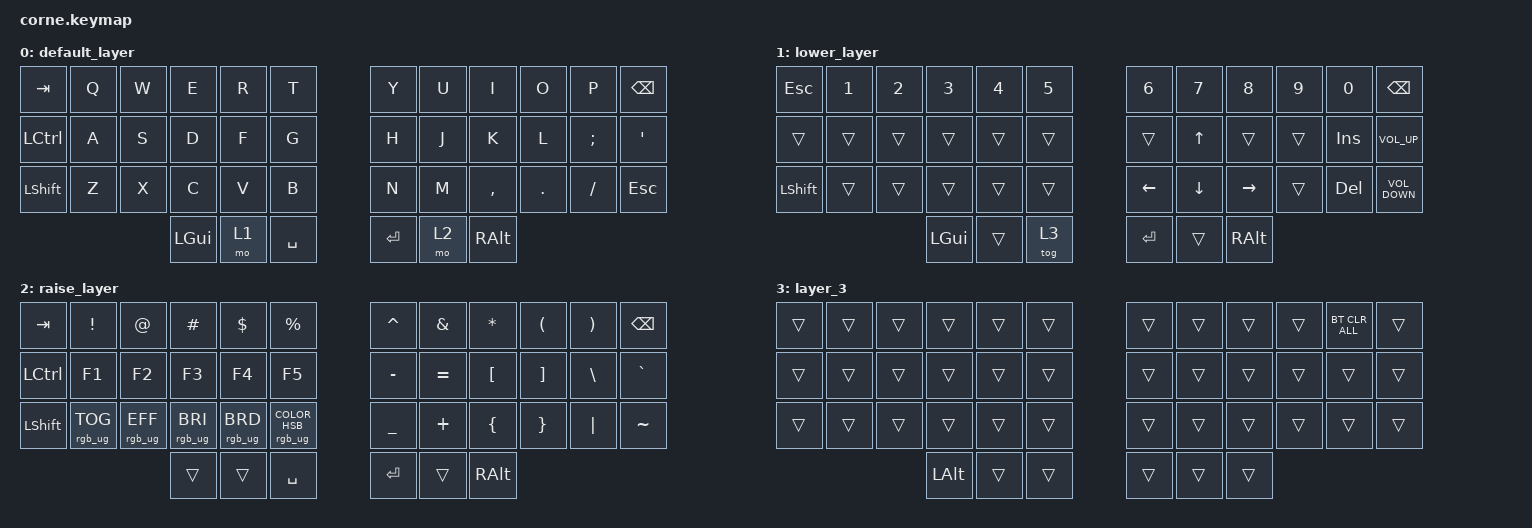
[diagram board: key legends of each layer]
/*
 * Copyright (c) 2020 The ZMK Contributors
 *
 * SPDX-License-Identifier: MIT
 */

#include <behaviors.dtsi>
#include <dt-bindings/zmk/bt.h>
#include <dt-bindings/zmk/keys.h>
#include <dt-bindings/zmk/rgb.h>

&led_strip { chain-length = <27>; };

/ {
    keymap {
        compatible = "zmk,keymap";

        default_layer {
            // -----------------------------------------------------------------------------------------
            // |  TAB |  Q  |  W  |  E  |  R  |  T  |   |  Y  |  U   |  I  |  O  |  P  | BKSP |
            // | CTRL |  A  |  S  |  D  |  F  |  G  |   |  H  |  J   |  K  |  L  |  ;  |  '   |
            // | SHFT |  Z  |  X  |  C  |  V  |  B  |   |  N  |  M   |  ,  |  .  |  /  | ESC  |
            //                    | GUI | LWR | SPC |   | ENT | RSE  | ALT |

            bindings = <
&kp TAB    &kp Q  &kp W  &kp E     &kp R  &kp T        &kp Y    &kp U  &kp I      &kp O    &kp P     &kp BSPC
&kp LCTRL  &kp A  &kp S  &kp D     &kp F  &kp G        &kp H    &kp J  &kp K      &kp L    &kp SEMI  &kp SQT
&kp LSHFT  &kp Z  &kp X  &kp C     &kp V  &kp B        &kp N    &kp M  &kp COMMA  &kp DOT  &kp FSLH  &kp ESC
                         &kp LGUI  &mo 1  &kp SPACE    &kp RET  &mo 2  &kp RALT
            >;
        };

        lower_layer {
            // -----------------------------------------------------------------------------------------
            // |  TAB |  1  |  2  |  3  |  4  |  5  |   |  6  |  7  |  8  |  9  |  0  | BKSP |
            // | BTCLR| BT1 | BT2 | BT3 | BT4 | BT5 |   | LFT | DWN |  UP | RGT |     |      |
            // | SHFT |     |     |     |     |     |   |     |     |     |     |     |      |
            //                    | GUI |     | SPC |   | ENT |     | ALT |

            bindings = <
&kp ESC    &kp N1  &kp N2  &kp N3    &kp N4  &kp N5    &kp N6    &kp N7        &kp N8     &kp N9  &kp N0      &kp BSPC
&trans     &trans  &trans  &trans    &trans  &trans    &trans    &kp UP_ARROW  &trans     &trans  &kp INSERT  &kp K_VOLUME_UP
&kp LSHFT  &trans  &trans  &trans    &trans  &trans    &kp LEFT  &kp DOWN      &kp RIGHT  &trans  &kp DELETE  &kp K_VOLUME_DOWN
                           &kp LGUI  &trans  &tog 3    &kp RET   &trans        &kp RALT
            >;
        };

        raise_layer {
            // -----------------------------------------------------------------------------------------
            // |  TAB |  !  |  @  |  #  |  $  |  %  |   |  ^  |  &  |  *  |  (  |  )  | BKSP |
            // | CTRL |      |     |     |     |     |   |  -  |  =  |  [  |  ]  |  \  |  `   |
            // | SHFT |RGBTOG|RGBEF|RGBUP|RGBDN|CLRCHNG|   |  _  |  +  |  {  |  }  | "|" |  ~   |
            //                    | GUI |     | SPC |   | ENT |     | ALT |

            bindings = <
&kp TAB    &kp EXCL         &kp AT           &kp HASH         &kp DLLR         &kp PRCNT                             &kp CARET  &kp AMPS   &kp ASTRK  &kp LPAR  &kp RPAR  &kp BSPC
&kp LCTRL  &kp F1           &kp F2           &kp F3           &kp F4           &kp F5                                &kp MINUS  &kp EQUAL  &kp LBKT   &kp RBKT  &kp BSLH  &kp GRAVE
&kp LSHFT  &rgb_ug RGB_TOG  &rgb_ug RGB_EFF  &rgb_ug RGB_BRI  &rgb_ug RGB_BRD  &rgb_ug RGB_COLOR_HSB(128,100,100)    &kp UNDER  &kp PLUS   &kp LBRC   &kp RBRC  &kp PIPE  &kp TILDE
                                             &trans           &trans           &kp SPACE                             &kp RET    &trans     &kp RALT
            >;
        };

        layer_3 {
            bindings = <
&trans  &trans  &trans  &trans        &trans  &trans    &trans  &trans  &trans  &trans  &bt BT_CLR_ALL  &trans
&trans  &trans  &trans  &trans        &trans  &trans    &trans  &trans  &trans  &trans  &trans          &trans
&trans  &trans  &trans  &trans        &trans  &trans    &trans  &trans  &trans  &trans  &trans          &trans
                        &kp LEFT_ALT  &trans  &trans    &trans  &trans  &trans
            >;
        };
    };
};
